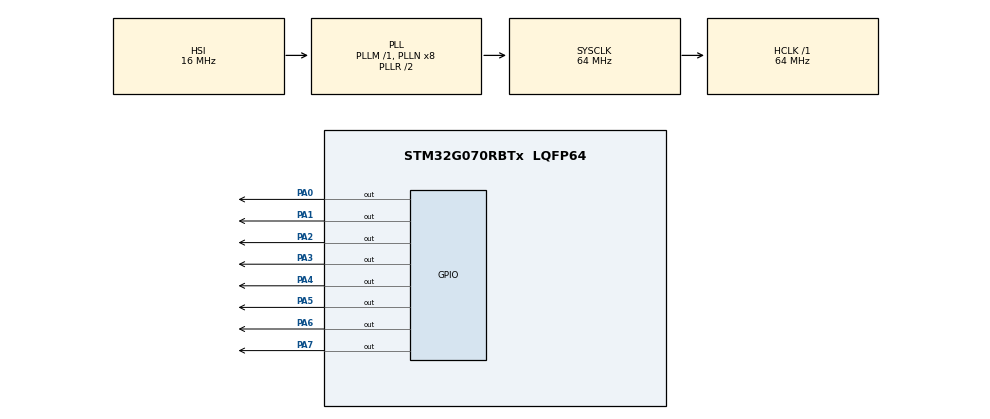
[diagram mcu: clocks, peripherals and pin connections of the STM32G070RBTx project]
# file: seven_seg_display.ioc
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Mcu.Family=STM32G0
Mcu.Name=STM32G070RBTx
Mcu.Package=LQFP64
PA0.PinState=GPIO_PIN_SET
PA0.Signal=GPIO_Output
PA1.PinState=GPIO_PIN_SET
PA1.Signal=GPIO_Output
PA2.PinState=GPIO_PIN_SET
PA2.Signal=GPIO_Output
PA3.PinState=GPIO_PIN_SET
PA3.Signal=GPIO_Output
PA4.PinState=GPIO_PIN_SET
PA4.Signal=GPIO_Output
PA5.PinState=GPIO_PIN_SET
PA5.Signal=GPIO_Output
PA6.PinState=GPIO_PIN_SET
PA6.Signal=GPIO_Output
PA7.PinState=GPIO_PIN_SET
PA7.Signal=GPIO_Output
PC13.Mode=SYS_WakeUp1
PC13.Signal=SYS_WKUP2
PC14-OSC32_IN\ (PC14).Mode=LSE-External-Oscillator
PC14-OSC32_IN\ (PC14).Signal=RCC_OSC32_IN
PC15-OSC32_OUT\ (PC15).Mode=LSE-External-Oscillator
PC15-OSC32_OUT\ (PC15).Signal=RCC_OSC32_OUT
PF0-OSC_IN\ (PF0).GPIO_Label=MCO
PF0-OSC_IN\ (PF0).Mode=HSE-External-Clock-Source
PF0-OSC_IN\ (PF0).Signal=RCC_OSC_IN
ProjectManager.HeapSize=0x200
ProjectManager.StackSize=0x400
ProjectManager.TargetToolchain=STM32CubeIDE
RCC.ADCFreq_Value=64000000
RCC.AHBFreq_Value=64000000
RCC.CortexFreq_Value=64000000
RCC.EXTERNAL_CLOCK_VALUE=12288000
RCC.HCLKFreq_Value=64000000
RCC.HSE_VALUE=8000000
RCC.HSI_VALUE=16000000
RCC.SYSCLKFreq_VALUE=64000000
RCC.SYSCLKSource=RCC_SYSCLKSOURCE_PLLCLK
RCC.VCOOutputFreq_Value=128000000
VP_SYS_VS_DBSignals.Mode=DisableDeadBatterySignals
board=NUCLEO-G070RB

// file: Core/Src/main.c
/* USER CODE BEGIN Header */
/**
  ******************************************************************************
  * @file           : main.c
  * @brief          : Main program body
  ******************************************************************************
  * @attention
  *
  * Copyright (c) 2024 STMicroelectronics.
  * All rights reserved.
  *
  * This software is licensed under terms that can be found in the LICENSE file
  * in the root directory of this software component.
  * If no LICENSE file comes with this software, it is provided AS-IS.
  *
  ******************************************************************************
  */
/* USER CODE END Header */
#include "main.h"

/* USER CODE BEGIN PD */
#define SEG_A_PIN GPIO_PIN_0
#define SEG_B_PIN GPIO_PIN_1
#define SEG_C_PIN GPIO_PIN_2
#define SEG_D_PIN GPIO_PIN_3
#define SEG_E_PIN GPIO_PIN_4
#define SEG_F_PIN GPIO_PIN_5
#define SEG_G_PIN GPIO_PIN_6
#define SEG_DP_PIN GPIO_PIN_7

#define SEG_PORT GPIOA

/* USER CODE END PD */

void SystemClock_Config(void);
static void MX_GPIO_Init(void);
/* USER CODE BEGIN PFP */
void displayCharacter(uint8_t character);

/* USER CODE END PFP */

/* USER CODE BEGIN 0 */
void displayCharacter(uint8_t character) {
    // Segment bit patterns for 0 to F
    const uint8_t segmentMap[16] = {
        0b00111111,  // 0
        0b00000110,  // 1
        0b01011011,  // 2
        0b01001111,  // 3
        0b01100110,  // 4
        0b01101101,  // 5
        0b01111101,  // 6
        0b00000111,  // 7
        0b01111111,  // 8
        0b01101111,  // 9
        0b01110111,  // A
        0b01111100,  // B
        0b00111001,  // C
        0b01011110,  // D
        0b01111001,  // E
        0b01110001   // F
    };
    uint8_t segments = segmentMap[character];

        // Set the GPIO pins according to the segments
        HAL_GPIO_WritePin(SEG_PORT, SEG_A_PIN, (segments & 0b00000001) ? GPIO_PIN_SET : GPIO_PIN_RESET);
        HAL_GPIO_WritePin(SEG_PORT, SEG_B_PIN, (segments & 0b00000010) ? GPIO_PIN_SET : GPIO_PIN_RESET);
        HAL_GPIO_WritePin(SEG_PORT, SEG_C_PIN, (segments & 0b00000100) ? GPIO_PIN_SET : GPIO_PIN_RESET);
        HAL_GPIO_WritePin(SEG_PORT, SEG_D_PIN, (segments & 0b00001000) ? GPIO_PIN_SET : GPIO_PIN_RESET);
        HAL_GPIO_WritePin(SEG_PORT, SEG_E_PIN, (segments & 0b00010000) ? GPIO_PIN_SET : GPIO_PIN_RESET);
        HAL_GPIO_WritePin(SEG_PORT, SEG_F_PIN, (segments & 0b00100000) ? GPIO_PIN_SET : GPIO_PIN_RESET);
        HAL_GPIO_WritePin(SEG_PORT, SEG_G_PIN, (segments & 0b01000000) ? GPIO_PIN_SET : GPIO_PIN_RESET);
        HAL_GPIO_WritePin(SEG_PORT, SEG_DP_PIN, (segments & 0b10000000) ? GPIO_PIN_SET : GPIO_PIN_RESET);  // Optional decimal point
    }

/* USER CODE END 0 */

int main(void)
{

  /* MCU Configuration--------------------------------------------------------*/

  /* Reset of all peripherals, Initializes the Flash interface and the Systick. */
  HAL_Init();

  /* Configure the system clock */
  SystemClock_Config();

  /* Initialize all configured peripherals */
  MX_GPIO_Init();

  /* Infinite loop */
  while (1)
  {

    /* USER CODE BEGIN 3 */
	  for (uint8_t i = 0; i <= 0xF; i++) {
	              displayCharacter(i);
	              HAL_Delay(1000);
  /* USER CODE END 3 */
}

void SystemClock_Config(void)
{
  RCC_OscInitTypeDef RCC_OscInitStruct = {0};
  RCC_ClkInitTypeDef RCC_ClkInitStruct = {0};

  /** Configure the main internal regulator output voltage
  */
  HAL_PWREx_ControlVoltageScaling(PWR_REGULATOR_VOLTAGE_SCALE1);

  /** Initializes the RCC Oscillators according to the specified parameters
  * in the RCC_OscInitTypeDef structure.
  */
  RCC_OscInitStruct.OscillatorType = RCC_OSCILLATORTYPE_HSI;
  RCC_OscInitStruct.HSIState = RCC_HSI_ON;
  RCC_OscInitStruct.HSIDiv = RCC_HSI_DIV1;
  RCC_OscInitStruct.HSICalibrationValue = RCC_HSICALIBRATION_DEFAULT;
  RCC_OscInitStruct.PLL.PLLState = RCC_PLL_ON;
  RCC_OscInitStruct.PLL.PLLSource = RCC_PLLSOURCE_HSI;
  RCC_OscInitStruct.PLL.PLLM = RCC_PLLM_DIV1;
  RCC_OscInitStruct.PLL.PLLN = 8;
  RCC_OscInitStruct.PLL.PLLP = RCC_PLLP_DIV2;
  RCC_OscInitStruct.PLL.PLLR = RCC_PLLR_DIV2;
  if (HAL_RCC_OscConfig(&RCC_OscInitStruct) != HAL_OK)
  {
    Error_Handler();
  }

  /** Initializes the CPU, AHB and APB buses clocks
  */
  RCC_ClkInitStruct.ClockType = RCC_CLOCKTYPE_HCLK|RCC_CLOCKTYPE_SYSCLK
                              |RCC_CLOCKTYPE_PCLK1;
  RCC_ClkInitStruct.SYSCLKSource = RCC_SYSCLKSOURCE_PLLCLK;
  RCC_ClkInitStruct.AHBCLKDivider = RCC_SYSCLK_DIV1;
  RCC_ClkInitStruct.APB1CLKDivider = RCC_HCLK_DIV1;

  if (HAL_RCC_ClockConfig(&RCC_ClkInitStruct, FLASH_LATENCY_2) != HAL_OK)
  {
    Error_Handler();
  }
}

static void MX_GPIO_Init(void)
{
  GPIO_InitTypeDef GPIO_InitStruct = {0};

  /* GPIO Ports Clock Enable */
  __HAL_RCC_GPIOC_CLK_ENABLE();
  __HAL_RCC_GPIOF_CLK_ENABLE();
  __HAL_RCC_GPIOA_CLK_ENABLE();

  /*Configure GPIO pin Output Level */
  //HAL_GPIO_WritePin(GPIOA, GPIO_PIN_0|GPIO_PIN_1|GPIO_PIN_2|GPIO_PIN_3
                         // |GPIO_PIN_4|GPIO_PIN_5|GPIO_PIN_6|GPIO_PIN_7, GPIO_PIN_SET);

  /*Configure GPIO pins : PA0 PA1 PA2 PA3
                           PA4 PA5 PA6 PA7 */
  //GPIO_InitStruct.Pin = GPIO_PIN_0|GPIO_PIN_1|GPIO_PIN_2|GPIO_PIN_3
                          //|GPIO_PIN_4|GPIO_PIN_5|GPIO_PIN_6|GPIO_PIN_7;
  GPIO_InitStruct.Mode = GPIO_MODE_OUTPUT_PP;
  GPIO_InitStruct.Pull = GPIO_NOPULL;
  GPIO_InitStruct.Speed = GPIO_SPEED_FREQ_LOW;
  HAL_GPIO_Init(GPIOA, &GPIO_InitStruct);

}

void Error_Handler(void)
{
  __disable_irq();
  while (1)
  {
  }
}
